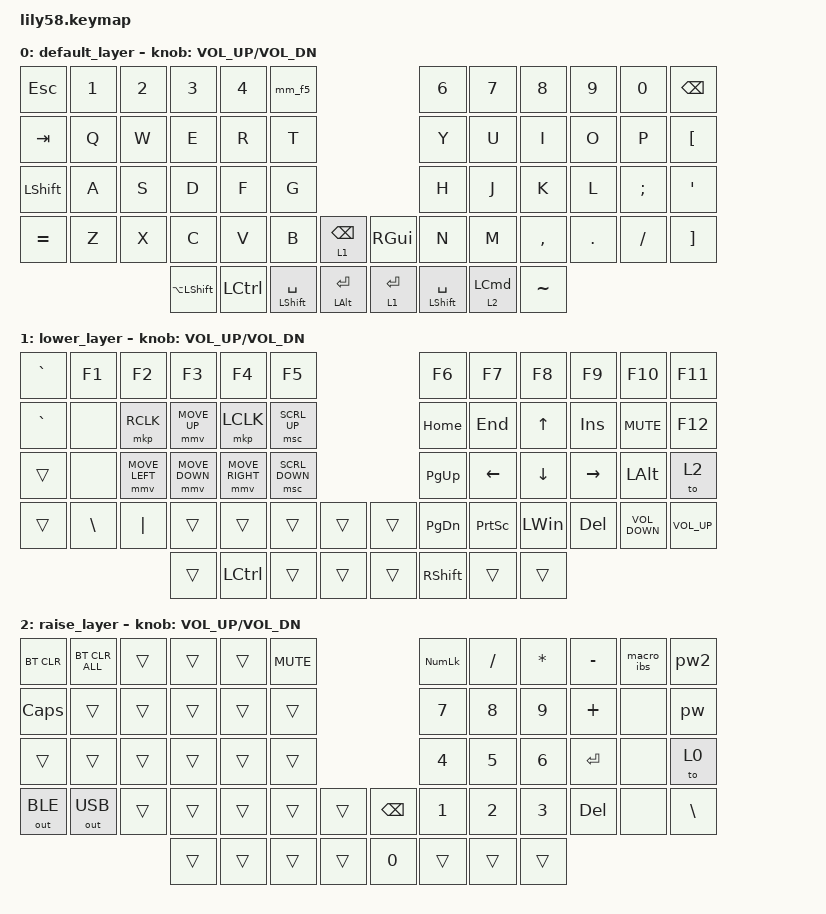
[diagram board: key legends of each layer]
/*
 * Copyright (c) 2020 The ZMK Contributors
 *
 * SPDX-License-Identifier: MIT
 */

#include <behaviors.dtsi>
#include <dt-bindings/zmk/bt.h>
#include <dt-bindings/zmk/keys.h>
#include <dt-bindings/zmk/outputs.h>
#include <dt-bindings/zmk/pointing.h>

/ {
    behaviors {
        td_mt_shift_space: tap_dance_mod_tap {
            compatible = "zmk,behavior-tap-dance";
            #binding-cells = <0>;
            tapping-term-ms = <130>;
            bindings = <&mt LSHIFT SPACE>, <&kp SPACE>;
        };

        td_lang_us_rus: td_lang_us_rus {
            compatible = "zmk,behavior-tap-dance";
            label = "TD_LANG_US_RUS";
            #binding-cells = <0>;
            bindings = <&tousa>, <&to_rus>;

            tapping-term-ms = <200>;
        };

        mm_shift_space: mm_shift_space {
            compatible = "zmk,behavior-mod-morph";
            label = "MM_SHIFT_SPACE";
            bindings = <&mt LEFT_SHIFT SPACE>, <&kp SPACE>;

            #binding-cells = <0>;
            mods = <(MOD_LCTL)>;
        };

        mm_f5: mm_f5 {
            compatible = "zmk,behavior-mod-morph";
            label = "MM_F5";
            bindings = <&kp N5>, <&kp F5>;

            #binding-cells = <0>;
            mods = <(MOD_LALT)>;
        };
    };

    macros {
        changelang: changelang {
            compatible = "zmk,behavior-macro";
            #binding-cells = <0>;
            bindings = <&kp LA(LEFT_SHIFT)>;
            label = "CHANGELANG";
        };

        tousa: tousa {
            compatible = "zmk,behavior-macro";
            #binding-cells = <0>;
            bindings = <&kp LC(LS(NUMBER_1))>;
            label = "TOUSA";
        };

        pw: pw {
            compatible = "zmk,behavior-macro";
            #binding-cells = <0>;
            bindings = <&none &kp LS(J) &kp RPAR &kp N &kp DLLR &kp W &kp N2 &kp RPAR &kp L &kp O &kp C &kp K &kp O &kp B &kp A &kp N &kp K &kp C &kp D &kp M &kp R &kp N7 &kp N2 &kp K &kp X &kp N2 &kp N0 &kp N2 &kp N2 &kp N5 &kp N2>;
            label = "PW";
            wait-ms = <0>;
            tap-ms = <10>;
        };

        pw2: pw2 {
            compatible = "zmk,behavior-macro";
            #binding-cells = <0>;
            bindings = <&none &kp LS(V) &kp AT &kp G &kp L &kp Y &kp AT &kp M &kp N0 &kp V &kp N1 &kp N2 &kp N3 &kp N4 &kp N5>;
            label = "PW2";
            tap-ms = <10>;
        };

        to_rus: to_rus {
            compatible = "zmk,behavior-macro";
            #binding-cells = <0>;
            bindings = <&kp LC(LS(NUMBER_2))>;
            label = "TO_RUS";
        };

        macro_e_E: macro_e_E {
            compatible = "zmk,behavior-macro";
            #binding-cells = <0>;
            wait-ms = <40>;
            tap-ms = <40>;
            bindings =
                <&macro_press>,
                <&kp LALT>,
                <&macro_tap>,
                <&kp KP_N0 &kp KP_N1 &kp KP_N6 &kp KP_N3>,
                <&macro_release>,
                <&kp LALT>;

            label = "MACRO_E_E";
        };

        macro_bracket1: macro_bracket1 {
            compatible = "zmk,behavior-macro";
            #binding-cells = <0>;
            bindings = <&kp LEFT_PARENTHESIS &kp RIGHT_PARENTHESIS &kp LEFT>;
            label = "MACRO_BRACKET1";
        };

        macro_bracket2: macro_bracket2 {
            compatible = "zmk,behavior-macro";
            #binding-cells = <0>;
            bindings = <&kp LEFT_BRACKET &kp RIGHT_BRACKET &kp LEFT>;
            label = "MACRO_BRACKET2";
        };

        macro_select: macro_select {
            compatible = "zmk,behavior-macro";
            #binding-cells = <0>;
            bindings = <&kp LS(S) &kp LS(E) &kp LS(L) &kp LS(E) &kp LS(C) &kp LS(T) &kp SPACE &kp N1>;
            label = "MACRO_SELECT";
        };

        macro_from: macro_from {
            compatible = "zmk,behavior-macro";
            #binding-cells = <0>;
            bindings = <&kp LS(F) &kp LS(R) &kp LS(O) &kp LS(M) &kp SPACE &kp D &kp B &kp O &kp DOT>;
            label = "MACRO_FROM";
        };

        macro_outer_apply: macro_outer_apply {
            compatible = "zmk,behavior-macro";
            #binding-cells = <0>;
            bindings = <&kp LS(O) &kp LS(U) &kp LS(T) &kp LS(E) &kp LS(R) &kp SPACE &kp LS(A) &kp LS(P) &kp LS(P) &kp LS(L) &kp LS(Y) &kp RET &kp LPAR &kp RET &kp SPACE &kp SPACE &kp SPACE &kp SPACE &kp RET &kp RPAR &kp LS(S) &kp LS(E) &kp LS(L) &kp LS(E) &kp LS(C) &kp LS(T) &kp SPACE &kp N1 &kp RET &kp LS(F) &kp LS(R) &kp LS(O) &kp LS(M) &kp SPACE &kp D &kp B &kp O &kp DOT>;
            label = "MACRO_OUTER_APPLY";
        };

        macro_cross_apply: macro_cross_apply {
            compatible = "zmk,behavior-macro";
            #binding-cells = <0>;
            bindings = <&kp LS(C) &kp LS(R) &kp LS(O) &kp LS(S) &kp LS(S) &kp SPACE &kp LS(A) &kp LS(P) &kp LS(P) &kp LS(L) &kp LS(Y) &kp RET &kp LPAR &kp RET &kp SPACE &kp SPACE &kp SPACE &kp SPACE &kp LS(S) &kp LS(E) &kp LS(L) &kp LS(E) &kp LS(C) &kp LS(T) &kp SPACE &kp N1 &kp RET &kp SPACE &kp SPACE &kp SPACE &kp SPACE &kp LS(F) &kp LS(R) &kp LS(O) &kp LS(M) &kp SPACE &kp RET &kp RPAR>;
            label = "MACRO_CROSS_APPLY";
        };

        macro_ibs: macro_ibs {
            compatible = "zmk,behavior-macro";
            #binding-cells = <0>;
            bindings = <&kp LS(J) &kp RPAR &kp N &kp DLLR &kp W &kp N2 &kp RPAR &kp N9 &kp N3 &kp N1 &kp N0 &kp N0 &kp N0>;
            label = "MACRO_IBS";
        };
    };

    combos {
        compatible = "zmk,combos";

        combo_g_t_f5 {
            bindings = <&kp F5>;
            key-positions = <29 17>;
        };

        combo_f_shift_minus {
            bindings = <&kp MINUS>;
            key-positions = <28 24>;
        };

        combo_g_h_repeat {
            bindings = <&key_repeat>;
            key-positions = <29 30>;
        };

        combo_t_y_change_lang {
            bindings = <&changelang>;
            key-positions = <17 18>;
        };

        combo_f_j_tousa {
            bindings = <&tousa>;
            key-positions = <28 31>;
        };

        combo_f_tab_esc {
            bindings = <&kp ESCAPE>;
            key-positions = <28 15>;
        };

        combo_f_g_minus {
            bindings = <&kp MINUS>;
            key-positions = <28 27>;
        };

        combo_d_f_altF3 {
            bindings = <&kp F3>;
            key-positions = <28 53>;
        };

        combo_s_d_backspace {
            bindings = <&kp BACKSPACE>;
            key-positions = <27 26>;
        };

        combo_f_9_bracket1 {
            bindings = <&macro_bracket1>;
            key-positions = <31 20>;
        };

        combo_f_brl_bracket2 {
            bindings = <&macro_bracket2>;
            key-positions = <31 32>;
        };

        combo_j_l_del {
            bindings = <&kp DEL>;
            key-positions = <31 33>;
        };

        combo_j_h_backspace {
            bindings = <&kp BACKSPACE>;
            key-positions = <31 30>;
        };

        combo_s_e {
            bindings = <&macro_select>;
            key-positions = <26 15>;
            layers = <1>;
        };

        combo_o_a {
            bindings = <&macro_outer_apply>;
            key-positions = <21 25>;
            layers = <1>;
        };

        combo_c_a {
            bindings = <&macro_cross_apply>;
            key-positions = <25 38>;
            layers = <1>;
        };
    };

    keymap {
        compatible = "zmk,keymap";

        default_layer {
            // ------------------------------------------------------------------------------------------------------------
            // |  ESC  |  1  |  2  |  3   |  4   |  5   |                   |  6   |  7    |  8    |  9   |   0   |   `   |
            // |  TAB  |  Q  |  W  |  E   |  R   |  T   |                   |  Y   |  U    |  I    |  O   |   P   |   -   |
            // |  CTRL |  A  |  S  |  D   |  F   |  G   |                   |  H   |  J    |  K    |  L   |   ;   |   '   |
            // | SHIFT |  Z  |  X  |  C   |  V   |  B   |   "["  |  |  "]"  |  N   |  M    |  ,    |  .   |   /   | SHIFT |
            //                     | ALT  | GUI  | LOWER|  SPACE |  | ENTER | RAISE| BSPC  | GUI   |

            bindings = <
&kp ESC         &kp N1  &kp N2  &kp N3              &kp N4            &mm_f5                                                    &kp N6                &kp N7      &kp N8     &kp N9   &kp N0    &kp BACKSPACE
&kp TAB         &kp Q   &kp W   &kp E               &kp R             &kp T                                                     &kp Y                 &kp U       &kp I      &kp O    &kp P     &kp LBKT
&kp LEFT_SHIFT  &kp A   &kp S   &kp D               &kp F             &kp G                                                     &kp H                 &kp J       &kp K      &kp L    &kp SEMI  &kp SQT
&kp EQUAL       &kp Z   &kp X   &kp C               &kp V             &kp B                 &lt 1 BACKSPACE        &kp RGUI     &kp N                 &kp M       &kp COMMA  &kp DOT  &kp FSLH  &kp RIGHT_BRACKET
                                &kp LA(LEFT_SHIFT)  &kp LEFT_CONTROL  &mt LEFT_SHIFT SPACE  &mt LEFT_ALT RETURN    &lt 1 ENTER  &mt LEFT_SHIFT SPACE  &lt 2 LCMD  &kp TILDE
            >;

            sensor-bindings = <&inc_dec_kp C_VOL_UP C_VOL_DN>;
        };

        lower_layer {
            // --------------------------------------------------------------------------------------------------------------
            // | LPAD  | BRDn | BRUp |  MUT |  Vo- |  Vo+ |                   |      |       |       |      |       |       |
            // |  F1   |  F2  |  F3  |  F4  |  F5  |  F6  |                   |  F7  |  F8   |  F9   |  F10 |  F11  |  F12  |
            // |   `   |  !   |  @   |  #   |  $   |  %   |                   |  ^   |  &    |  *    |  (   |   )   |   ~   |
            // |       |      |      |      |      |      |        |  |       |      |  _    |  +    |  {   |   }   |  "|"  |
            //                       |      |      |      |        |  |       |      |       |       |

            bindings = <
&kp GRAVE  &kp F1         &kp F2          &kp F3          &kp F4           &kp F5                            &kp F6           &kp F7           &kp F8          &kp F9           &kp F10            &kp F11
&kp GRAVE  &none          &mkp RCLK       &mmv MOVE_UP    &mkp LCLK        &msc SCRL_UP                      &kp HOME         &kp END          &kp UP_ARROW    &kp INS          &kp K_MUTE         &kp F12
&trans     &none          &mmv MOVE_LEFT  &mmv MOVE_DOWN  &mmv MOVE_RIGHT  &msc SCRL_DOWN                    &kp PAGE_UP      &kp LEFT_ARROW   &kp DOWN_ARROW  &kp RIGHT_ARROW  &kp LEFT_ALT       &to 2
&trans     &kp BACKSLASH  &kp PIPE        &trans          &trans           &trans          &trans    &trans  &kp PAGE_DOWN    &kp PRINTSCREEN  &kp LEFT_WIN    &kp DEL          &kp C_VOLUME_DOWN  &kp C_VOLUME_UP
                                          &trans          &kp LCTRL        &trans          &trans    &trans  &kp RIGHT_SHIFT  &trans           &trans
            >;

            sensor-bindings = <&inc_dec_kp C_VOL_UP C_VOL_DN>;
        };

        raise_layer {
            // ------------------------------------------------------------------------------------------------------------
            // |       |     |     |      |      |      |                   |      |       |       |      |       |       |
            // |   `   |  1  |  2  |  3   |  4   |  5   |                   |  6   |   7   |   8   |  9   |   0   |       |
            // |   F1  |  F2 |  F3 |  F4  |  F5  |  F6  |                   |      |   <-  |   v   |  ^   |  ->   |       |
            // |   F7  |  F8 |  F9 |  F10 |  F11 |  F12 |        |  |       |  +   |   -   |   =   |  [   |   ]   |   \   |
            //                     |      |      |      |        |  |       |      |       |       |

            bindings = <
&bt BT_CLR    &bt BT_CLR_ALL  &trans  &trans  &trans  &kp K_MUTE                           &kp KP_NUMLOCK  &kp SLASH     &kp ASTRK     &kp MINUS  &macro_ibs  &pw2
&kp CLCK      &trans          &trans  &trans  &trans  &trans                               &kp N7          &kp N8        &kp N9        &kp PLUS   &none       &pw
&trans        &trans          &trans  &trans  &trans  &trans                               &kp NUMBER_4    &kp N5        &kp NUMBER_6  &kp ENTER  &none       &to 0
&out OUT_BLE  &out OUT_USB    &trans  &trans  &trans  &trans      &trans    &kp BACKSPACE  &kp NUMBER_1    &kp NUMBER_2  &kp NUMBER_3  &kp DEL    &none       &kp BSLH
                                      &trans  &trans  &trans      &trans    &kp N0         &trans          &trans        &trans
            >;

            sensor-bindings = <&inc_dec_kp C_VOL_UP C_VOL_DN>;
        };
    };
};
